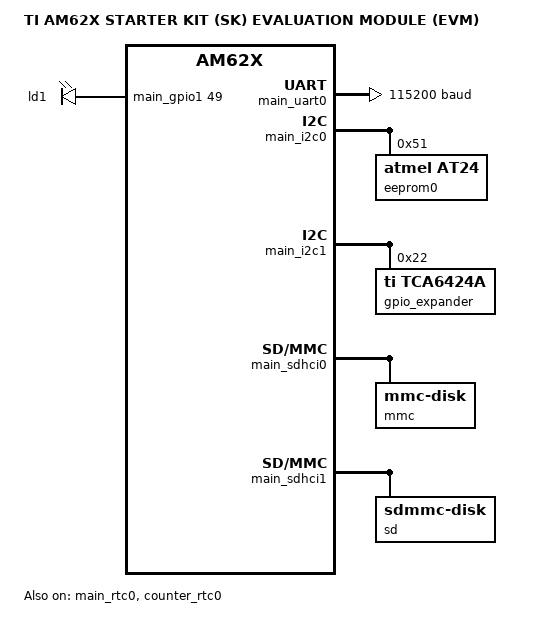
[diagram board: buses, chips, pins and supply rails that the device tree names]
/*
 * Copyright (c) 2025 Texas Instruments Incorporated
 *
 * SPDX-License-Identifier: Apache-2.0
 */

/dts-v1/;

#include <ti/ti_am6254_a53.dtsi>
#include "sk-am62_am6254_a53-pinctrl.dtsi"

/ {
	model = "TI AM62X STARTER KIT (SK) EVALUATION MODULE (EVM)";
	compatible = "ti,am62x_a53_sk";

	chosen {
		zephyr,console = &main_uart0;
		zephyr,shell-uart = &main_uart0;
		zephyr,sram = &a53_ddr_section;
		zephyr,ipc = &ipc0;
	};

	aliases {
		led0 = &ld1;
		rtc = &counter_rtc0;
		sdhc0 = &main_sdhci0;
		sdhc1 = &main_sdhci1;
		sdhc2 = &main_sdhci2;
	};

	cpus {
		cpu@0 {
			status = "okay";
		};

		cpu@1 {
			status = "okay";
		};

		cpu@2 {
			status = "okay";
		};

		cpu@3 {
			status = "okay";
		};
	};

	reserved-memory {
		#address-cells = <0x1>;
		#size-cells = <0x1>;

		/* Reserved memory for TFA/OP-TEE */
		tfa_memory: memory@80000000 {
			reg = <0x80000000 DT_SIZE_M(32)>;
		};
	};

	ddr0: memory@80000000 {
		device_type = "memory";
		reg = <0x80000000 DT_SIZE_G(2)>;
		#address-cells = <0x1>;
		#size-cells = <0x1>;

		/* First 32MiB is reserved for TFA/OP-TEE */
		a53_ddr_section: memory@82000000 {
			reg = <0x82000000 (DT_SIZE_G(2) - DT_SIZE_M(32))>;
		};
	};

	leds: leds {
		compatible = "gpio-leds";

		ld1: led_0 {
			gpios = <&main_gpio1 49 GPIO_ACTIVE_HIGH>;
		};
	};

	/* A53 -> M4F */
	ipc0: ipc0 {
		compatible = "zephyr,mbox-ipm";
		mboxes = <&mbox0 1>, <&mbox0 0>;
		mbox-names = "tx", "rx";
	};
};

&main_uart0 {
	current-speed = <115200>;
	pinctrl-0 = <&uart0_rx_default &uart0_tx_default>;
	pinctrl-names = "default";
	status = "okay";
};

&main_gpio1_1 {
	pinctrl-0 = <&main_gpio1_led>;
	pinctrl-names = "default";
	status = "okay";
};

&main_i2c0 {
	pinctrl-0 = <&main_i2c0_scl &main_i2c0_sda>;
	pinctrl-names = "default";
	status = "okay";

	eeprom0: eeprom@51 {
		compatible = "atmel,at24";
		reg = <0x51>;
		address-width = <16>;
		pagesize = <128>;
		size = <65536>;
		timeout = <5>;
	};
};

&main_i2c1 {
	pinctrl-0 = <&main_i2c1_scl &main_i2c1_sda>;
	pinctrl-names = "default";
	status = "okay";

	gpio_expander: tca6424a@22 {
		compatible = "ti,tca6424a";
		reg = <0x22>;
		gpio-controller;
		#gpio-cells = <2>;
		ngpios = <24>;
	};
};

&main_rtc0 {
	status = "okay";
};

&counter_rtc0 {
	status = "okay";
};

/* eMMC */
&main_sdhci0 {
	pinctrl-0 = <&mmc0_cmd
		     &mmc0_clk
		     &mmc0_dat0
		     &mmc0_dat1
		     &mmc0_dat2
		     &mmc0_dat3
		     &mmc0_dat4
		     &mmc0_dat5
		     &mmc0_dat6
		     &mmc0_dat7>;
	pinctrl-names = "default";
	status = "okay";

	mmc {
		compatible = "zephyr,mmc-disk";
		bus-width = <8>;
		disk-name = "emmc";
	};
};

/* SD */
&main_sdhci1 {
	pinctrl-0 = <&mmc1_cmd
		     &mmc1_clk
		     &mmc1_dat0
		     &mmc1_dat1
		     &mmc1_dat2
		     &mmc1_dat3
		     &mmc1_sdcd>;
	pinctrl-names = "default";
	status = "okay";

	sd {
		compatible = "zephyr,sdmmc-disk";
		disk-name = "sd";
	};
};

/* SDIO */
&main_sdhci2 {
	pinctrl-0 = <&mmc2_cmd
		     &mmc2_clk
		     &mmc2_clklb
		     &mmc2_dat0
		     &mmc2_dat1
		     &mmc2_dat2
		     &mmc2_dat3>;
	pinctrl-names = "default";
	ti,fails-without-test-cd;
	status = "disabled";
};
